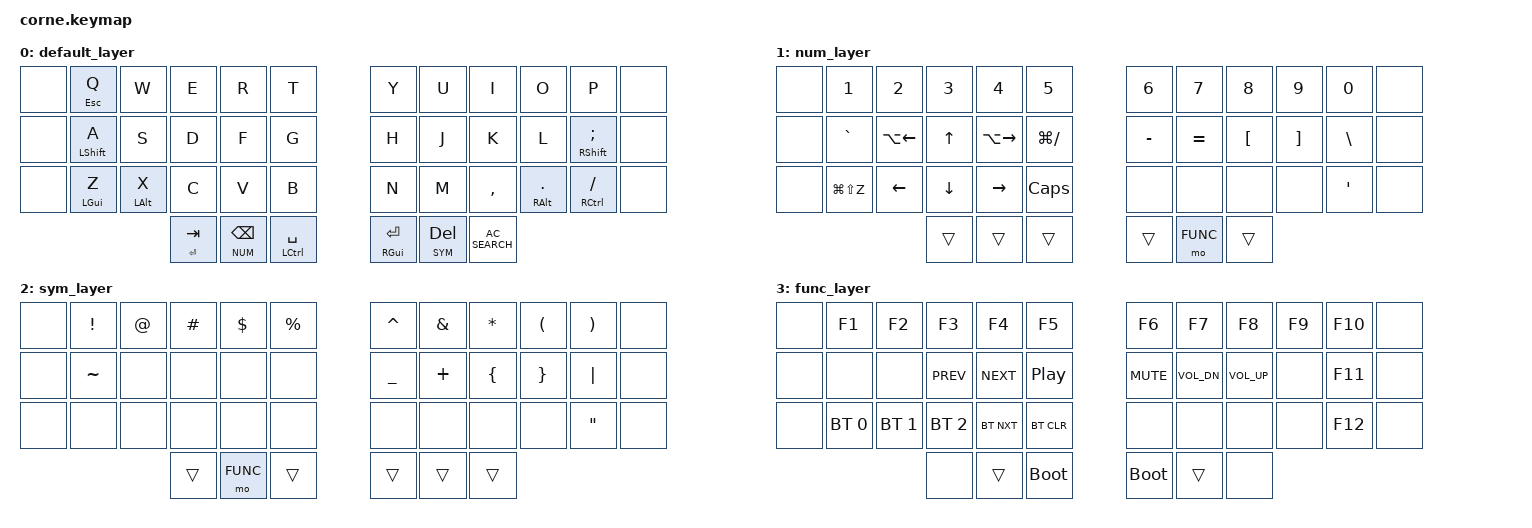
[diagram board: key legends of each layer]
/*
 * Copyright (c) 2020 The ZMK Contributors
 * SPDX-License-Identifier: MIT
 */

#include <dt-bindings/zmk/keys.h>
#include <dt-bindings/zmk/bt.h>
#include <dt-bindings/zmk/ext_power.h>
#include <behaviors.dtsi>

// LAYERS
#define DEFAULT 0
#define NUM     1
#define SYM     2
#define FUNC    3

// MACROS
#define SUPER LC(LSHIFT)
#define SUPER2 LA(LC(LSHIFT))

&mt {
  tapping-term-ms = <200>;
  flavor = "tap-preferred";
};

/ {
  behaviors {
    hm: homerow_mods {
      compatible = "zmk,behavior-hold-tap";
      label = "HOMEROW_MODS";
      #binding-cells = <2>;
      tapping-term-ms = <200>;
      quick-tap-ms = <0>;
      flavor = "tap-preferred";
      bindings = <&kp>, <&kp>;
    };

    td0: tap_dance_0 {
      compatible = "zmk,behavior-tap-dance";
      label = "TAP_DANCE_0";
      #binding-cells = <0>;
      tapping-term-ms = <200>;
      bindings = <&hm RGUI SEMI>, <&kp SQT>;
    };

    td1: tap_dance_1 {
      compatible = "zmk,behavior-tap-dance";
      label = "TAP_DANCE_1";
      #binding-cells = <0>;
      tapping-term-ms = <200>;
      bindings = <&mt ENTER TAB>, <&kp ESC>;
    };
  };

  combos {
    compatible = "zmk,combos";
    combo_cword {
      timeout-ms = <50>;
      key-positions = <16 19>;
      bindings = <&caps_word>;
    };

    combo_vimwq {
      timeout-ms = <50>;
      key-positions = <1 2>;
      bindings = <&vim_quit>;
    };
  };

  macros {
        vim_quit: vim_quit {
            label = "ZM_vim_quit";
            compatible = "zmk,behavior-macro";
            #binding-cells = <0>;
            bindings
                = <&macro_tap &kp ESC &kp COLON &kp W &kp Q>;
        };
    };

  keymap {
    compatible = "zmk,keymap";

    default_layer {
      bindings = <

&none   /**/  &hm ESC Q       &kp W        &kp E       &kp R     &kp T   /**/  &kp Y    &kp U    &kp I       &kp O         &kp P                  /**/  &none
&none   /**/  &hm LSHIFT A    &kp S        &kp D       &kp F     &kp G   /**/  &kp H    &kp J    &kp K       &kp L         &hm RSHIFT SEMICOLON   /**/  &none
&none   /**/  &hm LGUI Z     &hm LALT X   &kp C       &kp V     &kp B   /**/  &kp N    &kp M    &kp COMMA   &hm RALT DOT  &hm RCTRL SLASH        /**/  &none
                             &mt ENTER TAB  &lt NUM BSPC &mt LCTRL SPACE  /**/  &mt RGUI RET &lt SYM DEL &kp C_AC_SEARCH

      >;
    };



    num_layer {
      bindings = <

&none   /**/  &kp N1          &kp N2        &kp N3      &kp N4          &kp N5          /**/  &kp N6     &kp N7     &kp N8            &kp N9             &kp N0           /**/  &none
&none   /**/  &kp GRAVE       &kp LA(LEFT)  &kp UP      &kp LA(RIGHT)   &kp LG(SLASH)   /**/  &kp MINUS  &kp EQUAL  &kp LEFT_BRACKET  &kp RIGHT_BRACKET  &kp BACKSLASH    /**/  &none
&none   /**/  &kp LG(LS(Z))   &kp LEFT      &kp DOWN    &kp RIGHT       &kp CAPSLOCK    /**/  &none      &none      &none             &none              &kp SQT          /**/  &none
                                                              &trans  &trans  &trans    /**/  &trans  &mo FUNC  &trans
                                                               
      >;
    };

        sym_layer {
      bindings = <

&none   /**/  &kp EXCL    &kp AT      &kp HASH       &kp DLLR        &kp PRCNT    /**/   &kp CARET      &kp AMPS   &kp ASTERISK      &kp LEFT_PARENTHESIS    &kp RIGHT_PARENTHESIS    /**/  &none
&none   /**/  &kp TILDE   &none       &none          &none           &none        /**/   &kp UNDER      &kp PLUS   &kp LEFT_BRACE    &kp RIGHT_BRACE         &kp PIPE                 /**/  &none
&none   /**/  &none       &none       &none          &none           &none        /**/   &none          &none      &none             &none                   &kp DQT                  /**/  &none
                                                          &trans &mo FUNC &trans  /**/   &trans &trans &trans

      >;
    };

    func_layer {
      bindings = <

&none   /**/  &kp F1          &kp F2          &kp F3          &kp F4     &kp F5            /**/  &kp F6          &kp F7       &kp F8       &kp F9   &kp F10  /**/  &none
&none   /**/  &none           &none           &kp C_PREV      &kp C_NEXT &kp C_PLAY_PAUSE  /**/  &kp C_MUTE      &kp C_VOL_DN &kp C_VOL_UP &none    &kp F11  /**/  &none
&none   /**/  &bt BT_SEL 0    &bt BT_SEL 1    &bt BT_SEL 2    &bt BT_NXT &bt BT_CLR        /**/  &none           &none        &none        &none    &kp F12  /**/  &none
                                                                &none &trans &bootloader  /**/  &bootloader &trans &none

      >;
    };
  };
};
